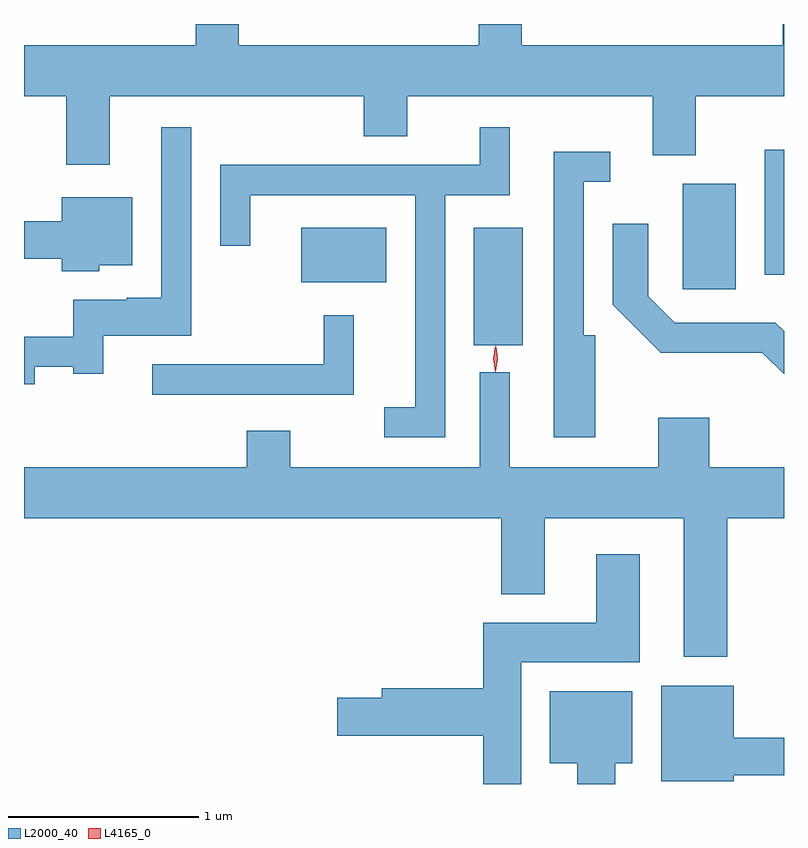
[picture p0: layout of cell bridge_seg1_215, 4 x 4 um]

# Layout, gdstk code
import gdstk
lib = gdstk.Library(unit=1e-6, precision=1e-09)
def R(c, l, rs):  # rectangles x0, y0, x1, y1
    for r in rs: c.add(gdstk.rectangle(r[:2], r[2:], *l))
def P(c, l, *ps):  # polygons
    for p in ps: c.add(gdstk.Polygon(p, *l))
L2000_40 = (2000, 40)
L4165_0 = (4165, 0)

bridge_seg1_215 = lib.new_cell('bridge_seg1_215')
R(bridge_seg1_215, L2000_40, [(770.246,858.306,770.504,858.924), (771.346,858.601,771.624,859.154), (769.336,858.636,769.784,858.924), (771.776,858.676,771.878,859.334)])
P(bridge_seg1_215, L2000_40, [(769.009,859.996),(768.781,859.996),(768.781,859.884),(767.878,859.884),(767.878,859.616),(768.101,859.616),(768.101,859.256),(768.329,859.256),(768.329,859.616),(769.666,859.616),(769.666,859.406),(769.894,859.406),(769.894,859.616),(771.186,859.616),(771.186,859.306),(771.414,859.306),(771.414,859.616),(771.878,859.616),(771.878,859.996),(771.871,859.996),(771.871,859.884),(770.499,859.884),(770.499,859.996),(770.271,859.996),(770.271,859.884),(769.009,859.884)],
  [(767.934,858.191),(768.136,858.191),(768.136,858.156),(768.294,858.156),(768.294,858.356),(768.759,858.356),(768.759,859.453),(768.601,859.453),(768.601,858.554),(768.42,858.554),(768.42,858.544),(768.136,858.544),(768.136,858.349),(767.878,858.349),(767.878,858.101),(767.934,858.101)],
  [(770.094,859.096),(770.434,859.096),(770.434,859.453),(770.276,859.453),(770.276,859.254),(768.911,859.254),(768.911,858.828),(769.069,858.828),(769.069,859.096),(769.936,859.096),(769.936,857.979),(769.773,857.979),(769.773,857.821),(770.094,857.821)],
  [(770.884,858.359),(770.824,858.359),(770.824,859.166),(770.963,859.166),(770.963,859.324),(770.666,859.324),(770.666,857.821),(770.884,857.821)],
  [(768.274,858.726),(768.449,858.726),(768.449,859.084),(768.076,859.084),(768.076,858.959),(767.878,858.959),(767.878,858.761),(768.076,858.761),(768.076,858.696),(768.274,858.696)],
  [(771.878,858.378),(771.832,858.424),(771.302,858.424),(771.164,858.562),(771.164,858.944),(770.976,858.944),(770.976,858.519),(771.229,858.266),(771.764,858.266),(771.878,858.152)],
  [(769.614,858.463),(769.456,858.463),(769.456,858.204),(768.553,858.204),(768.553,858.046),(769.614,858.046)],
  [(771.579,857.396),(771.878,857.396),(771.878,857.664),(771.484,857.664),(771.484,857.924),(771.216,857.924),(771.216,857.664),(770.434,857.664),(770.434,858.163),(770.276,858.163),(770.276,857.664),(769.279,857.664),(769.279,857.854),(769.051,857.854),(769.051,857.664),(767.878,857.664),(767.878,857.396),(770.391,857.396),(770.391,856.996),(770.619,856.996),(770.619,857.396),(771.351,857.396),(771.351,856.666),(771.579,856.666)],
  [(770.494,856.636),(771.119,856.636),(771.119,857.204),(770.891,857.204),(770.891,856.844),(770.296,856.844),(770.296,856.499),(769.761,856.499),(769.761,856.449),(769.526,856.449),(769.526,856.251),(770.296,856.251),(770.296,855.996),(770.494,855.996)],
  [(771.614,856.041),(771.878,856.041),(771.878,856.239),(771.614,856.239),(771.614,856.514),(771.231,856.514),(771.231,856.011),(771.614,856.011)],
  [(770.989,856.106),(771.079,856.106),(771.079,856.484),(770.646,856.484),(770.646,856.106),(770.791,856.106),(770.791,855.996),(770.989,855.996)])
P(bridge_seg1_215, L4165_0, [(770.358,858.164),(770.358,858.165),(770.348,858.233),(770.358,858.302),(770.358,858.302),(770.359,858.302),(770.368,858.233),(770.359,858.165)],
  [(770.36,858.168),(770.352,858.234),(770.363,858.299),(770.364,858.299),(770.364,858.299),(770.372,858.234),(770.361,858.168),(770.361,858.168)])

lib.write_gds('bridge_seg1_215.gds')
